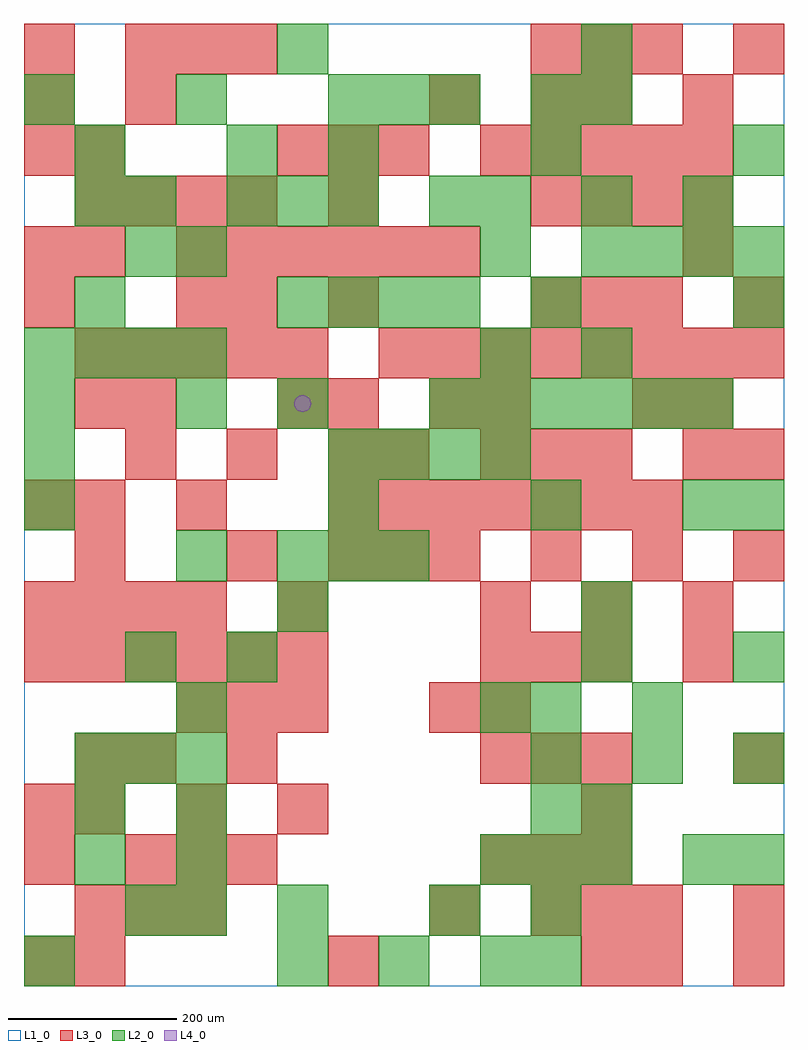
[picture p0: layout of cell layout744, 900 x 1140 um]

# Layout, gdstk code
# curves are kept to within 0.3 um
import gdstk
lib = gdstk.Library(unit=1e-6, precision=1e-09)
def R(c, l, rs):  # rectangles x0, y0, x1, y1
    for r in rs: c.add(gdstk.rectangle(r[:2], r[2:], *l))
def A(c, l, x, y, w, h, nx, ny, dx, dy):  # array of equal rectangles
    R(c, l, [(x+i*dx, y+j*dy, x+i*dx+w, y+j*dy+h) for i in range(nx) for j in range(ny)])
def P(c, l, *ps):  # polygons
    for p in ps: c.add(gdstk.Polygon(p, *l))
L1_0 = (1, 0)
L2_0 = (2, 0)
L3_0 = (3, 0)
L4_0 = (4, 0)

layout744 = lib.new_cell('layout744')
R(layout744, L1_0, [(0,0,900,1140)])
A(layout744, L2_0, 300, 0, 60, 60, 3, 1, 120, 0)
A(layout744, L2_0, 180, 60, 60, 60, 1, 3, 0, 60)
A(layout744, L2_0, 600, 60, 60, 60, 1, 3, 0, 120)
A(layout744, L2_0, 540, 120, 60, 60, 3, 1, 60, 0)
A(layout744, L2_0, 60, 240, 60, 60, 3, 1, 60, 0)
A(layout744, L2_0, 600, 240, 60, 60, 3, 1, 120, 0)
A(layout744, L2_0, 180, 300, 60, 60, 1, 4, 0, 180)
A(layout744, L2_0, 660, 420, 60, 60, 1, 3, 0, 300)
A(layout744, L2_0, 300, 480, 60, 60, 3, 1, 60, 0)
A(layout744, L2_0, 0, 540, 60, 60, 1, 3, 0, 60)
A(layout744, L2_0, 600, 540, 60, 60, 1, 3, 0, 240)
A(layout744, L2_0, 360, 600, 60, 60, 4, 1, 60, 0)
A(layout744, L2_0, 480, 660, 60, 60, 6, 1, 60, 0)
A(layout744, L2_0, 0, 720, 60, 60, 4, 1, 60, 0)
A(layout744, L2_0, 300, 780, 60, 60, 4, 1, 60, 0)
A(layout744, L2_0, 660, 840, 60, 60, 4, 1, 60, 0)
A(layout744, L2_0, 240, 900, 60, 60, 3, 1, 60, 0)
A(layout744, L2_0, 540, 900, 60, 60, 3, 1, 120, 0)
A(layout744, L2_0, 360, 960, 60, 60, 3, 1, 240, 0)
A(layout744, L2_0, 0, 1020, 60, 60, 3, 1, 180, 0)
R(layout744, L2_0, [(0,0,60,60), (600,0,660,60), (120,60,180,120), (300,60,360,120), (480,60,540,120), (60,120,120,180), (780,120,840,180), (840,120,900,180), (60,180,120,240), (660,180,720,240), (540,300,600,360), (720,300,780,360), (120,360,180,420), (240,360,300,420), (660,360,720,420), (840,360,900,420), (300,420,360,480), (360,540,420,600), (780,540,840,600), (840,540,900,600), (300,660,360,720), (540,720,600,780), (60,780,120,840), (840,780,900,840), (120,840,180,900), (540,840,600,900), (60,900,120,960), (120,900,180,960), (480,900,540,960), (60,960,120,1020), (240,960,300,1020), (420,1020,480,1080), (480,1020,540,1080), (300,1080,360,1140), (660,1080,720,1140)])
A(layout744, L3_0, 60, 0, 60, 60, 3, 1, 300, 0)
A(layout744, L3_0, 60, 60, 60, 60, 3, 1, 60, 0)
A(layout744, L3_0, 600, 60, 60, 60, 3, 2, 60, 720)
A(layout744, L3_0, 120, 120, 60, 60, 3, 2, 60, 960)
A(layout744, L3_0, 540, 120, 60, 60, 3, 3, 60, 120)
A(layout744, L3_0, 60, 180, 60, 60, 3, 1, 120, 0)
A(layout744, L3_0, 180, 300, 60, 60, 3, 1, 60, 0)
A(layout744, L3_0, 480, 300, 60, 60, 1, 3, 0, 360)
A(layout744, L3_0, 0, 360, 60, 60, 6, 1, 60, 0)
A(layout744, L3_0, 0, 420, 60, 60, 4, 1, 60, 0)
A(layout744, L3_0, 540, 420, 60, 60, 3, 1, 120, 0)
A(layout744, L3_0, 360, 480, 60, 60, 3, 1, 60, 0)
A(layout744, L3_0, 600, 480, 60, 60, 3, 1, 120, 0)
A(layout744, L3_0, 360, 540, 60, 60, 7, 1, 60, 0)
A(layout744, L3_0, 120, 600, 60, 60, 3, 1, 120, 0)
A(layout744, L3_0, 540, 600, 60, 60, 3, 1, 60, 0)
A(layout744, L3_0, 360, 660, 60, 60, 1, 3, 0, 120)
A(layout744, L3_0, 780, 660, 60, 60, 1, 3, 0, 180)
A(layout744, L3_0, 60, 720, 60, 60, 5, 1, 60, 0)
A(layout744, L3_0, 420, 720, 60, 60, 8, 1, 60, 0)
A(layout744, L3_0, 180, 840, 60, 60, 6, 1, 60, 0)
A(layout744, L3_0, 60, 900, 60, 60, 4, 1, 60, 0)
A(layout744, L3_0, 600, 900, 60, 60, 4, 1, 60, 0)
A(layout744, L3_0, 0, 960, 60, 60, 1, 3, 0, 60)
A(layout744, L3_0, 300, 960, 60, 60, 3, 1, 60, 0)
A(layout744, L3_0, 540, 960, 60, 60, 5, 1, 60, 0)
A(layout744, L3_0, 600, 1080, 60, 60, 3, 1, 60, 0)
R(layout744, L3_0, [(0,0,60,60), (720,0,780,60), (840,0,900,60), (480,60,540,120), (840,60,900,120), (0,120,60,180), (0,180,60,240), (660,180,720,240), (60,240,120,300), (120,240,180,300), (240,240,300,300), (840,240,900,300), (540,300,600,360), (780,360,840,420), (300,420,360,480), (60,480,120,540), (240,480,300,540), (0,540,60,600), (60,540,120,600), (180,540,240,600), (420,600,480,660), (780,600,840,660), (840,600,900,660), (60,660,120,720), (120,660,180,720), (300,660,360,720), (540,660,600,720), (720,660,780,720), (0,780,60,840), (180,780,240,840), (240,780,300,840), (840,780,900,840), (0,840,60,900), (60,840,120,900), (60,960,120,1020), (120,1020,180,1080), (600,1020,660,1080), (660,1020,720,1080), (840,1080,900,1140)])
P(layout744, L4_0, [(340,690),(339.239,693.827),(337.071,697.071),(333.827,699.239),(330,700),(326.173,699.239),(322.929,697.071),(320.761,693.827),(320,690),(320.761,686.173),(322.929,682.929),(326.173,680.761),(330,680),(333.827,680.761),(337.071,682.929),(339.239,686.173)])

lib.write_gds('layout744.gds')
